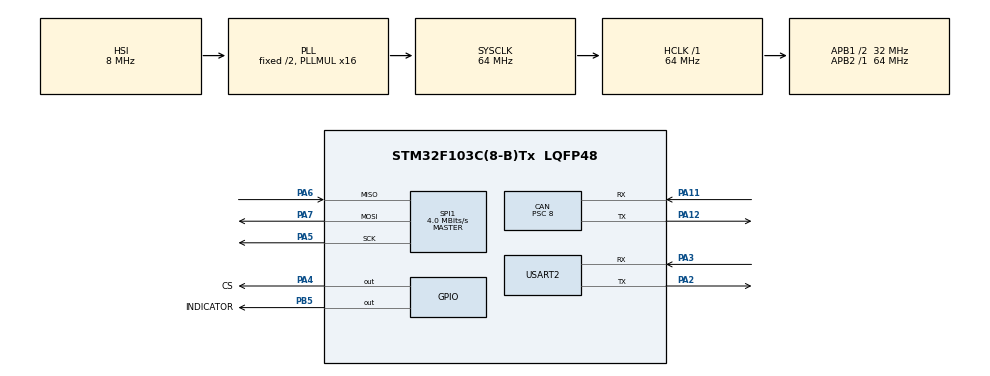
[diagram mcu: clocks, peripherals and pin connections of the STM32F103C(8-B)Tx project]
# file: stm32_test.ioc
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CAN.BS1=CAN_BS1_2TQ
CAN.CalculateBaudRate=1000000
CAN.CalculateTimeBit=1000
CAN.CalculateTimeQuantum=250.0
CAN.Prescaler=8
Mcu.Family=STM32F1
Mcu.Name=STM32F103C(8-B)Tx
Mcu.Package=LQFP48
NVIC.PriorityGroup=NVIC_PRIORITYGROUP_4
PA11.Mode=CAN_Activate
PA11.Signal=CAN_RX
PA12.Mode=CAN_Activate
PA12.Signal=CAN_TX
PA13.Signal=SYS_JTMS-SWDIO
PA14.Signal=SYS_JTCK-SWCLK
PA2.Mode=Asynchronous
PA2.Signal=USART2_TX
PA3.Mode=Asynchronous
PA3.Signal=USART2_RX
PA4.GPIO_Label=CS
PA4.Signal=GPIO_Output
PA5.Mode=Full_Duplex_Master
PA5.Signal=SPI1_SCK
PA6.Mode=Full_Duplex_Master
PA6.Signal=SPI1_MISO
PA7.Mode=Full_Duplex_Master
PA7.Signal=SPI1_MOSI
PB5.GPIO_Label=INDICATOR
PB5.Signal=GPIO_Output
PD0-OSC_IN.Signal=RCC_OSC_IN
PD1-OSC_OUT.Signal=RCC_OSC_OUT
ProjectManager.HeapSize=0x200
ProjectManager.StackSize=0x400
ProjectManager.TargetToolchain=CMake
RCC.AHBFreq_Value=64000000
RCC.APB1CLKDivider=RCC_HCLK_DIV2
RCC.APB1Freq_Value=32000000
RCC.APB1TimFreq_Value=64000000
RCC.APB2Freq_Value=64000000
RCC.APB2TimFreq_Value=64000000
RCC.HCLKFreq_Value=64000000
RCC.PLLMUL=RCC_PLL_MUL16
RCC.SYSCLKFreq_VALUE=64000000
RCC.SYSCLKSource=RCC_SYSCLKSOURCE_PLLCLK
RCC.USBFreq_Value=64000000
SPI1.BaudRatePrescaler=SPI_BAUDRATEPRESCALER_16
SPI1.CLKPhase=SPI_PHASE_2EDGE
SPI1.CalculateBaudRate=4.0 MBits/s
SPI1.DataSize=SPI_DATASIZE_16BIT
SPI1.Direction=SPI_DIRECTION_2LINES
SPI1.Mode=SPI_MODE_MASTER
SPI1.VirtualType=VM_MASTER
USART2.VirtualMode=VM_ASYNC
VP_SYS_VS_ND.Mode=No_Debug
board=custom

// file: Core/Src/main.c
/* USER CODE BEGIN Header */
/**
  ******************************************************************************
  * @file           : main.c
  * @brief          : Main program body
  ******************************************************************************
  * @attention
  *
  * Copyright (c) 2026 STMicroelectronics.
  * All rights reserved.
  *
  * This software is licensed under terms that can be found in the LICENSE file
  * in the root directory of this software component.
  * If no LICENSE file comes with this software, it is provided AS-IS.
  *
  ******************************************************************************
  */
/* USER CODE END Header */
#include "main.h"

/* USER CODE BEGIN Includes */
#include "stdio.h"
#include "stm32f1xx_hal_can.h"
#include <stdint.h>
/* USER CODE END Includes */

CAN_HandleTypeDef hcan;

SPI_HandleTypeDef hspi1;

UART_HandleTypeDef huart2;

void SystemClock_Config(void);
static void MX_GPIO_Init(void);
static void MX_CAN_Init(void);
static void MX_SPI1_Init(void);
static void MX_USART2_UART_Init(void);

/* USER CODE BEGIN 0 */
uint16_t MA732_get_raw_rad(){
  HAL_GPIO_WritePin(GPIOA, GPIO_PIN_4, GPIO_PIN_RESET);
  uint8_t spi_tx_buffer[] = {0,0};
  uint8_t spi_rx_buffer[2];
  HAL_SPI_TransmitReceive(&hspi1, (uint8_t*)spi_tx_buffer, (uint8_t *)spi_rx_buffer, 2, 1000);
  HAL_GPIO_WritePin(GPIOA, GPIO_PIN_4, GPIO_PIN_SET);
  const uint16_t raw_data = ((uint16_t)spi_rx_buffer[1] << 8) | spi_rx_buffer[0];
  return raw_data;
}

float MA732_get_float_rad(){
  const uint16_t raw_rad = MA732_get_raw_rad();
  float angle_scale_factor = 0.00038349519824f;   // 2π / 16384 (14-bit)
  float angle_raw = (float)(raw_rad >> 2) * angle_scale_factor;
  return angle_raw;
}

int float_print(float value, char *out_str)
{
  char sign = (value < 0) ? '-' : ' ';
  float abs_rad = (value < 0) ? -value : value;

  int integer_part = (int)abs_rad;
  int fractional_part = (int)((abs_rad - (float)integer_part) * 1000.0f);

  return sprintf(out_str, "%c%d.%03d", sign, integer_part, fractional_part);
}

/* USER CODE END 0 */

int main(void)
{

  /* MCU Configuration--------------------------------------------------------*/

  /* Reset of all peripherals, Initializes the Flash interface and the Systick. */
  HAL_Init();

  /* Configure the system clock */
  SystemClock_Config();

  /* Initialize all configured peripherals */
  MX_GPIO_Init();
  MX_CAN_Init();
  MX_SPI1_Init();
  MX_USART2_UART_Init();
  /* USER CODE BEGIN 2 */
  CAN_TxHeaderTypeDef TxHeader;
  uint8_t TxData[8];
  uint32_t TxMailbox;

  HAL_CAN_Start(&hcan);

  TxHeader.ExtId = 0;
  TxHeader.RTR = CAN_RTR_DATA;
  TxHeader.IDE = CAN_ID_EXT;
  TxHeader.DLC = 8;
  /* USER CODE END 2 */

  /* Infinite loop */
  /* USER CODE BEGIN WHILE */
  while (1)
  {
    float rad = MA732_get_float_rad();
    char rad_str[10];
    float_print(rad, rad_str);
    char uart_buf[50];
    // int msg_len = sprintf(uart_buf, "Motor Angle: %.3f rad\r\n", rad);
    int msg_len = sprintf(uart_buf, "Motor Angle: %s rad\r\n", rad_str);
    HAL_UART_Transmit(&huart2, (uint8_t*)uart_buf, msg_len, 10);
    // HAL_GPIO_TogglePin(INDICATOR_GPIO_Port, INDICATOR_Pin);
    // HAL_Delay(500);

    HAL_GPIO_WritePin(INDICATOR_GPIO_Port, INDICATOR_Pin, GPIO_PIN_SET);
    uint16_t raw_rad = MA732_get_raw_rad();

    TxData[0] = 0x00;
    TxData[1] = 0x00;
    TxData[2] = 0x00;
    TxData[3] = 0x00;
    TxData[4] = 0x00;
    TxData[5] = 0x00;
    TxData[6] = (raw_rad >> 8) & 0xFF;
    TxData[7] = raw_rad & 0xFF;

    if (HAL_CAN_AddTxMessage(&hcan, &TxHeader, TxData, &TxMailbox)==HAL_OK){
      int msg_len = sprintf(uart_buf, "CAN is sent. CAN: [ID:%08X] [DATA:%02X %02X %02X %02X %02X %02X %02X %02X]\r\n",
                                  TxHeader.ExtId,
                                  TxData[0], TxData[1], TxData[2], TxData[3],
                                  TxData[4], TxData[5], TxData[6], TxData[7]);
      HAL_UART_Transmit(&huart2, (uint8_t*)uart_buf, msg_len, 10);
    }

    HAL_Delay(1000);

    /* USER CODE END WHILE */

  }
}

void SystemClock_Config(void)
{
  RCC_OscInitTypeDef RCC_OscInitStruct = {0};
  RCC_ClkInitTypeDef RCC_ClkInitStruct = {0};

  /** Initializes the RCC Oscillators according to the specified parameters
  * in the RCC_OscInitTypeDef structure.
  */
  RCC_OscInitStruct.OscillatorType = RCC_OSCILLATORTYPE_HSI;
  RCC_OscInitStruct.HSIState = RCC_HSI_ON;
  RCC_OscInitStruct.HSICalibrationValue = RCC_HSICALIBRATION_DEFAULT;
  RCC_OscInitStruct.PLL.PLLState = RCC_PLL_ON;
  RCC_OscInitStruct.PLL.PLLSource = RCC_PLLSOURCE_HSI_DIV2;
  RCC_OscInitStruct.PLL.PLLMUL = RCC_PLL_MUL16;
  if (HAL_RCC_OscConfig(&RCC_OscInitStruct) != HAL_OK)
  {
    Error_Handler();
  }

  /** Initializes the CPU, AHB and APB buses clocks
  */
  RCC_ClkInitStruct.ClockType = RCC_CLOCKTYPE_HCLK|RCC_CLOCKTYPE_SYSCLK
                              |RCC_CLOCKTYPE_PCLK1|RCC_CLOCKTYPE_PCLK2;
  RCC_ClkInitStruct.SYSCLKSource = RCC_SYSCLKSOURCE_PLLCLK;
  RCC_ClkInitStruct.AHBCLKDivider = RCC_SYSCLK_DIV1;
  RCC_ClkInitStruct.APB1CLKDivider = RCC_HCLK_DIV2;
  RCC_ClkInitStruct.APB2CLKDivider = RCC_HCLK_DIV1;

  if (HAL_RCC_ClockConfig(&RCC_ClkInitStruct, FLASH_LATENCY_2) != HAL_OK)
  {
    Error_Handler();
  }
}

static void MX_CAN_Init(void)
{

  hcan.Instance = CAN1;
  hcan.Init.Prescaler = 8;
  hcan.Init.Mode = CAN_MODE_NORMAL;
  hcan.Init.SyncJumpWidth = CAN_SJW_1TQ;
  hcan.Init.TimeSeg1 = CAN_BS1_2TQ;
  hcan.Init.TimeSeg2 = CAN_BS2_1TQ;
  hcan.Init.TimeTriggeredMode = DISABLE;
  hcan.Init.AutoBusOff = DISABLE;
  hcan.Init.AutoWakeUp = DISABLE;
  hcan.Init.AutoRetransmission = DISABLE;
  hcan.Init.ReceiveFifoLocked = DISABLE;
  hcan.Init.TransmitFifoPriority = DISABLE;
  if (HAL_CAN_Init(&hcan) != HAL_OK)
  {
    Error_Handler();
  }

}

static void MX_SPI1_Init(void)
{

  /* SPI1 parameter configuration*/
  hspi1.Instance = SPI1;
  hspi1.Init.Mode = SPI_MODE_MASTER;
  hspi1.Init.Direction = SPI_DIRECTION_2LINES;
  hspi1.Init.DataSize = SPI_DATASIZE_16BIT;
  hspi1.Init.CLKPolarity = SPI_POLARITY_LOW;
  hspi1.Init.CLKPhase = SPI_PHASE_2EDGE;
  hspi1.Init.NSS = SPI_NSS_SOFT;
  hspi1.Init.BaudRatePrescaler = SPI_BAUDRATEPRESCALER_16;
  hspi1.Init.FirstBit = SPI_FIRSTBIT_MSB;
  hspi1.Init.TIMode = SPI_TIMODE_DISABLE;
  hspi1.Init.CRCCalculation = SPI_CRCCALCULATION_DISABLE;
  hspi1.Init.CRCPolynomial = 10;
  if (HAL_SPI_Init(&hspi1) != HAL_OK)
  {
    Error_Handler();
  }

}

static void MX_USART2_UART_Init(void)
{

  huart2.Instance = USART2;
  huart2.Init.BaudRate = 115200;
  huart2.Init.WordLength = UART_WORDLENGTH_8B;
  huart2.Init.StopBits = UART_STOPBITS_1;
  huart2.Init.Parity = UART_PARITY_NONE;
  huart2.Init.Mode = UART_MODE_TX_RX;
  huart2.Init.HwFlowCtl = UART_HWCONTROL_NONE;
  huart2.Init.OverSampling = UART_OVERSAMPLING_16;
  if (HAL_UART_Init(&huart2) != HAL_OK)
  {
    Error_Handler();
  }

}

static void MX_GPIO_Init(void)
{
  GPIO_InitTypeDef GPIO_InitStruct = {0};

  /* GPIO Ports Clock Enable */
  __HAL_RCC_GPIOD_CLK_ENABLE();
  __HAL_RCC_GPIOA_CLK_ENABLE();
  __HAL_RCC_GPIOB_CLK_ENABLE();

  /*Configure GPIO pin Output Level */
  HAL_GPIO_WritePin(CS_GPIO_Port, CS_Pin, GPIO_PIN_RESET);

  /*Configure GPIO pin Output Level */
  HAL_GPIO_WritePin(INDICATOR_GPIO_Port, INDICATOR_Pin, GPIO_PIN_RESET);

  /*Configure GPIO pin : CS_Pin */
  GPIO_InitStruct.Pin = CS_Pin;
  GPIO_InitStruct.Mode = GPIO_MODE_OUTPUT_PP;
  GPIO_InitStruct.Pull = GPIO_NOPULL;
  GPIO_InitStruct.Speed = GPIO_SPEED_FREQ_LOW;
  HAL_GPIO_Init(CS_GPIO_Port, &GPIO_InitStruct);

  /*Configure GPIO pin : INDICATOR_Pin */
  GPIO_InitStruct.Pin = INDICATOR_Pin;
  GPIO_InitStruct.Mode = GPIO_MODE_OUTPUT_PP;
  GPIO_InitStruct.Pull = GPIO_NOPULL;
  GPIO_InitStruct.Speed = GPIO_SPEED_FREQ_LOW;
  HAL_GPIO_Init(INDICATOR_GPIO_Port, &GPIO_InitStruct);

}

void Error_Handler(void)
{
  __disable_irq();
  while (1)
  {
  }
}
